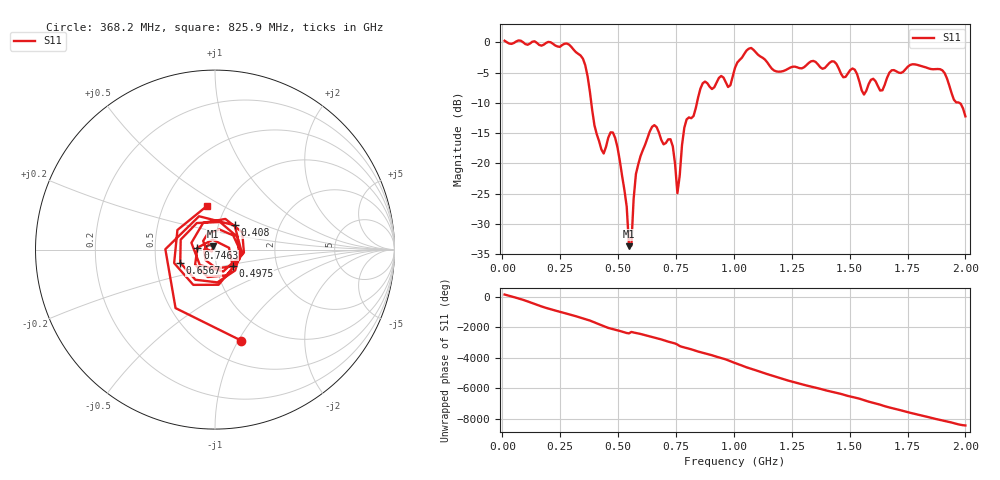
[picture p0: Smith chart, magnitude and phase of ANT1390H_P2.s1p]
!Created with skrf (http://scikit-rf.org).
# Hz S RI R 50.0
!freq ReS11 ImS11
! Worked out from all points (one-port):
!   201 points, 10 MHz to 2 GHz, reference 50 ohm
!   lowest |S11| = -33.7 dB at 547.3 MHz (marker M1), VSWR 1.04, Z = 49.1 + j1.81 ohm
!   |S11| at or under -10 dB: 384.3 MHz to 840.6 MHz (456.3 MHz wide, 74.5 % of centre); 1.973 GHz to end of sweep
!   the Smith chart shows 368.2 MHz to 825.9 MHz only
!   S11 on the Smith chart (normalised r, x): 368.2 MHz: 0.73, -1.03; 408 MHz: 1.19, +0.33; 497.6 MHz: 1.20, -0.23; 656.8 MHz: 0.67, -0.10; 746.3 MHz: 0.82, +0.02; 825.9 MHz: 0.81, +0.42
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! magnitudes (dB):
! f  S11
! 10 MHz  0.3
! 258.8 MHz  -0.4
! 368.2 MHz  -5.6
! 408 MHz  -15.2
! 437.9 MHz  -18.4
! 467.7 MHz  -14.9
! 497.6 MHz  -17.4
! 507.5 MHz  -19.6
! 537.4 MHz  -27.2
! 547.3 MHz  -33.7
! 557.2 MHz  -33.6
! 577.1 MHz  -21.8
! 656.8 MHz  -13.7
! 726.4 MHz  -16.0
! 746.3 MHz  -20.1
! 756.2 MHz  -24.9
! 786.1 MHz  -14.1
! 825.9 MHz  -12.2
! 865.7 MHz  -6.8
! 975.1 MHz  -7.4
! 1.005 GHz  -4.2
! 1.075 GHz  -0.9
! 1.254 GHz  -4.0
! 1.502 GHz  -4.6
! 1.562 GHz  -8.6
! 1.751 GHz  -4.0
! 1.901 GHz  -4.6
! 2 GHz  -12.2
